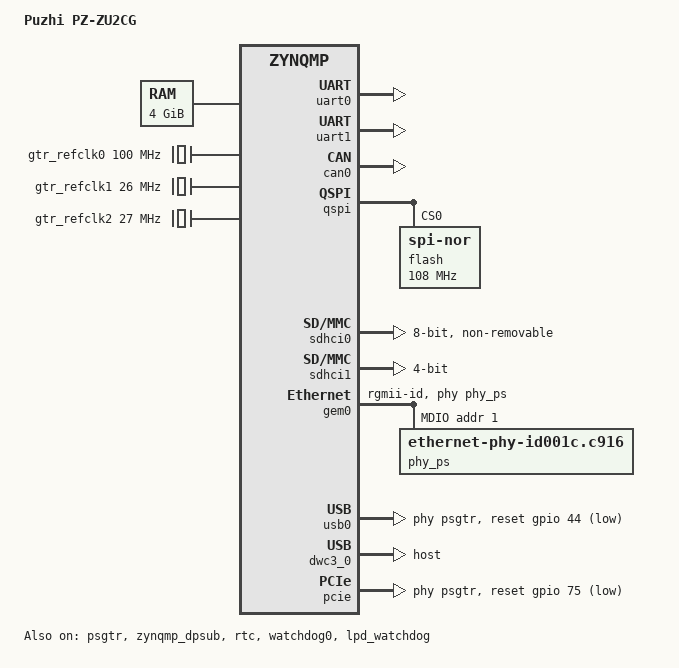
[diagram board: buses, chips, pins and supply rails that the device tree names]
// SPDX-License-Identifier: GPL-2.0
/*
 * Puzhi PZ-ZU2CG: processing-system peripherals, as set by the board preset
 * (tools/gen_pz_zu2cg.py). Shared by U-Boot (on its own) and Linux (pz-zu2cg.dts,
 * which adds the PL design). Pin multiplexing is done by psu_init, not here.
 */

#include "zynqmp.dtsi"
#include "zynqmp-clk-ccf.dtsi"
#include <dt-bindings/gpio/gpio.h>
#include <dt-bindings/phy/phy.h>

/ {
	model = "Puzhi PZ-ZU2CG";
	compatible = "puzhi,pz-zu2cg", "xlnx,zynqmp";

	aliases {
		ethernet0 = &gem0;
		mmc0 = &sdhci0;
		mmc1 = &sdhci1;
		rtc0 = &rtc;
		serial0 = &uart0;
		serial1 = &uart1;
		spi0 = &qspi;
	};

	chosen {
		bootargs = "earlycon";
		stdout-path = "serial0:115200n8";
	};

	/* 4 GB PS DDR4: 2 GB below 4 GB, 2 GB at 32 GB */
	memory@0 {
		device_type = "memory";
		reg = <0x0 0x0 0x0 0x80000000>, <0x8 0x0 0x0 0x80000000>;
	};

	/* PS-GTR reference clocks from the board oscillators */
	gtr_refclk0: gtr-refclk0 {		/* PCIe */
		compatible = "fixed-clock";
		#clock-cells = <0>;
		clock-frequency = <100000000>;
	};

	gtr_refclk1: gtr-refclk1 {		/* USB 3.0 */
		compatible = "fixed-clock";
		#clock-cells = <0>;
		clock-frequency = <26000000>;
	};

	gtr_refclk2: gtr-refclk2 {		/* DisplayPort */
		compatible = "fixed-clock";
		#clock-cells = <0>;
		clock-frequency = <27000000>;
	};
};

&psgtr {
	status = "okay";
	clocks = <&gtr_refclk0>, <&gtr_refclk1>, <&gtr_refclk2>;
	clock-names = "ref0", "ref1", "ref2";
};

/* UART0: USB-UART (CP2102), MIO 42/43 - console */
&uart0 {
	status = "okay";
};

/* UART1: RS485 (SP3485), MIO 40/41 */
&uart1 {
	status = "okay";
};

/* CAN0 (SN65HVD230), MIO 38/39 */
&can0 {
	status = "okay";
};

/* QSPI: W25Q256JW, single x4, MIO 0-6 */
&qspi {
	status = "okay";

	flash@0 {
		compatible = "jedec,spi-nor";
		reg = <0>;
		#address-cells = <1>;
		#size-cells = <1>;
		spi-tx-bus-width = <4>;
		spi-rx-bus-width = <4>;
		spi-max-frequency = <108000000>;
	};
};

/* SD0: 8 GB eMMC, 8 bit, MIO 13-22 */
&sdhci0 {
	status = "okay";
	non-removable;
	disable-wp;
	bus-width = <8>;
	xlnx,mio-bank = <0>;
};

/* SD1: micro-SD card, 4 bit, MIO 46-51, card detect MIO 45 */
&sdhci1 {
	status = "okay";
	no-1-8-v;
	disable-wp;
	bus-width = <4>;
	xlnx,mio-bank = <1>;
};

/*
 * GEM0: RTL8211F on MIO 26-37, MDIO on MIO 76/77, PHY address 1.
 * The Puzhi manual says KSZ9031, but the board's PHY ID registers read 0x001c/0xc916
 * (Realtek RTL8211F); checked on hardware 2026-11-14. Its straps enable only the RX delay,
 * and the PS GEM adds none, so "rgmii-id" is needed: the Realtek driver then turns on the
 * PHY's 2 ns TX delay too. Without it TX frames are corrupted at any speed.
 */
&gem0 {
	status = "okay";
	phy-mode = "rgmii-id";
	phy-handle = <&phy_ps>;

	mdio {
		#address-cells = <1>;
		#size-cells = <0>;

		phy_ps: ethernet-phy@1 {
			compatible = "ethernet-phy-id001c.c916", "ethernet-phy-ieee802.3-c22";
			reg = <1>;
		};
	};
};

/* USB0: USB3320 ULPI PHY on MIO 52-63 (reset on MIO 44) + USB 3.0 on GTR lane 1 */
&usb0 {
	status = "okay";
	reset-gpios = <&gpio 44 GPIO_ACTIVE_LOW>;
	phy-names = "usb3-phy";
	phys = <&psgtr 1 PHY_TYPE_USB3 0 1>;
};

&dwc3_0 {
	status = "okay";
	dr_mode = "host";
	snps,usb3_lpm_capable;
	maximum-speed = "super-speed";
};

/* PCIe root port x1 on GTR lane 0 (M.2 NVMe), PERST# on MIO 75 */
&pcie {
	status = "okay";
	reset-gpios = <&gpio 75 GPIO_ACTIVE_LOW>;
	phy-names = "pcie-phy0";
	phys = <&psgtr 0 PHY_TYPE_PCIE 0 0>;
};

/* Mini DisplayPort: GTR lanes 3 (ML0) and 2 (ML1); AUX/HPD over EMIO */
&zynqmp_dpdma {
	status = "okay";
};

&zynqmp_dpsub {
	status = "okay";
	phy-names = "dp-phy0", "dp-phy1";
	phys = <&psgtr 3 PHY_TYPE_DP 0 2>, <&psgtr 2 PHY_TYPE_DP 1 2>;
};

&gpio {
	status = "okay";
};

&rtc {
	status = "okay";
};

&watchdog0 {
	status = "okay";
};

&lpd_watchdog {
	status = "okay";
};
